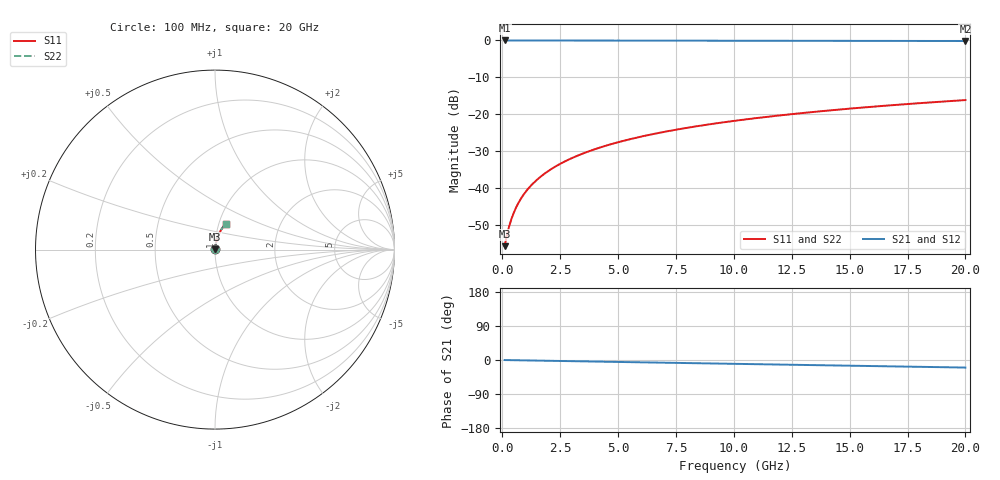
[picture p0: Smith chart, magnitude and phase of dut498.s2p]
! Touchstone file exported from HFSS 2026.1.0
!  File:  C:/ffzhzh/LocalFiles/Ansys_Project_Files/temp_train_TMRDL_498_1783006699_51716.aedt
!  Generated:  11:39:37 PM Jul  2, 2026
!  Design:  TMRDL
!  Project:  temp_train_TMRDL_498_1783006699_51716
! Variables:
!  h_bsmrdl = 2um
!  h_ox = 20um
!  h_rdl = 5um
!  h_sub = 80um
!  h_tmrdl = 3.88um
!  h_tsv = 80um
!  h_via = 3um
!  l_bsmrdl = 300um
!  l_sub = 689.54um
!  l_tmrdl = 289.54um
!  m_sub = 200um
!  pitch = 41.55um
!  r_tsv = 6um
!  s_tmrdl = 10um
!  w_bsmrdl = 18um
!  w_sub = 500um
!  w_tmrdl = 24.26um
!  x_tsv_center1 = 301.67um
!  x_tsv_center2 = 619.67um
!  x_tsv_center3 = 933.47um
!  x_tsv_center4 = 1251.47um
!  x_tsv_center5 = 1565.27um
!  x_tsv_center6 = 1883.27um
# GHz S MA R 50.000000
! Terminal data exported
! Port[1] = TM_RDL1_1_T1
! Port[2] = TM_RDL1_1_T2
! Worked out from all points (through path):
!   200 points, 100 MHz to 20 GHz, reference 50 ohm
!   highest |S21| = -0.01 dB at 100 MHz (marker M1); lowest = -0.2 dB at 20 GHz (marker M2)
!   group delay of S21, straight-line fit = 2.77 ps
!   lowest |S11| = -55.7 dB at 100 MHz (marker M3), VSWR 1.00, Z = 50.1 + j0.0982 ohm
!   |S11| at or under -10 dB: start of sweep to end of sweep
!   |S22| runs from -55.7 to -16.2 dB; largest |S21 - S12| = 3e-15
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0.1  0.001636 36.8  0.9987 -0.1  0.9987 -0.1  0.001636 36.8
! Gamma 0 0 0 0
! Port Impedance 50 0 50 0
0.2  0.002313 53.0  0.9986 -0.2  0.9986 -0.2  0.002312 53.0
0.3  0.003064 61.9  0.9985 -0.3  0.9985 -0.3  0.003063 61.9
0.4  0.003857 67.3  0.9984 -0.4  0.9984 -0.4  0.003857 67.3
0.5  0.004673 70.8  0.9984 -0.5  0.9984 -0.5  0.004673 70.8
0.6  0.005499 73.2  0.9983 -0.6  0.9983 -0.6  0.005499 73.2
0.8  0.007163 76.3  0.9983 -0.8  0.9983 -0.8  0.007163 76.3
1.1  0.009663 78.8  0.9982 -1.1  0.9982 -1.1  0.009663 78.8
1.5  0.01299 80.5  0.9981 -1.6  0.9981 -1.6  0.01299 80.5
1.8  0.01549 81.2  0.998 -1.9  0.998 -1.9  0.01549 81.2
2.1  0.01798 81.6  0.9979 -2.2  0.9979 -2.2  0.01798 81.6
2.7  0.02296 81.9  0.9976 -2.8  0.9976 -2.8  0.02296 81.9
3.5  0.02956 81.8  0.9972 -3.6  0.9972 -3.6  0.02956 81.8
4.2  0.0353 81.5  0.9968 -4.3  0.9968 -4.3  0.0353 81.5
5  0.0418 80.9  0.9963 -5.1  0.9963 -5.1  0.0418 80.9
5.9  0.04904 80.2  0.9956 -6.0  0.9956 -6.0  0.04904 80.2
6.8  0.05622 79.5  0.9949 -6.9  0.9949 -6.9  0.05622 79.5
8.3  0.06804 78.2  0.9937 -8.4  0.9937 -8.4  0.06804 78.2
10.1  0.08203 76.7  0.9922 -10.2  0.9922 -10.2  0.08203 76.7
13.4  0.1072 73.7  0.989 -13.5  0.989 -13.5  0.1072 73.7
16.7  0.1317 70.7  0.9855 -16.7  0.9855 -16.7  0.1317 70.7
20  0.1556 67.7  0.9815 -20.0  0.9815 -20.0  0.1556 67.7
